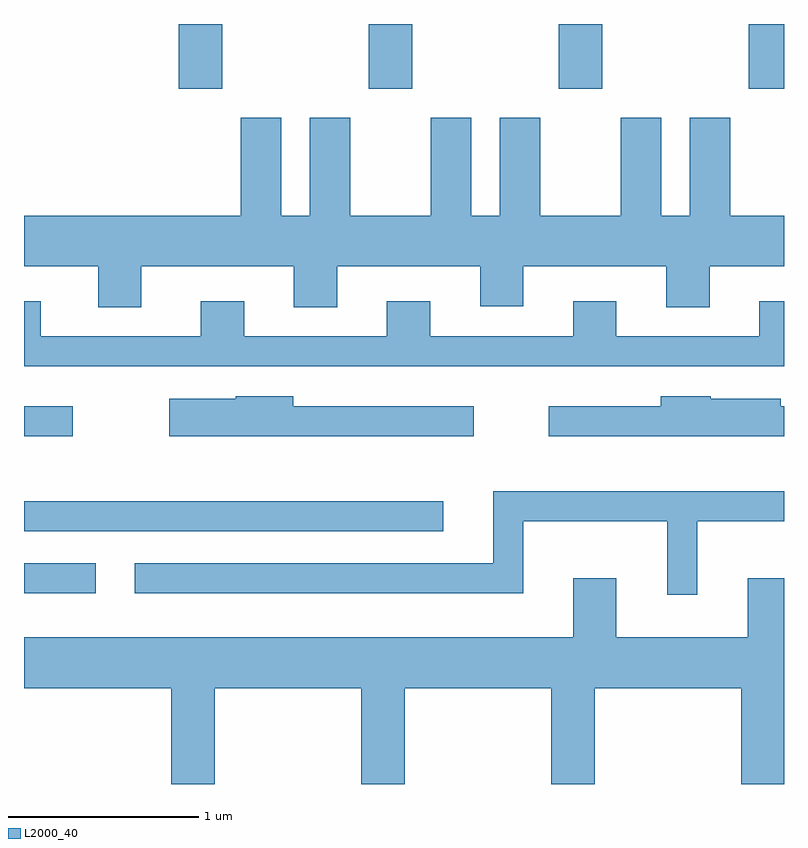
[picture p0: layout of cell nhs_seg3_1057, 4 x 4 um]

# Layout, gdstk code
import gdstk
lib = gdstk.Library(unit=1e-6, precision=1e-09)
def R(c, l, rs):  # rectangles x0, y0, x1, y1
    for r in rs: c.add(gdstk.rectangle(r[:2], r[2:], *l))
def A(c, l, x, y, w, h, nx, ny, dx, dy):  # array of equal rectangles
    R(c, l, [(x+i*dx, y+j*dy, x+i*dx+w, y+j*dy+h) for i in range(nx) for j in range(ny)])
def P(c, l, *ps):  # polygons
    for p in ps: c.add(gdstk.Polygon(p, *l))
L2000_40 = (2000, 40)

nhs_seg3_1057 = lib.new_cell('nhs_seg3_1057')
A(nhs_seg3_1057, L2000_40, 216.426, 1193.551, 0.228, 0.341, 3, 1, 1, 0)
R(nhs_seg3_1057, L2000_40, [(215.611,1190.896,215.988,1191.054), (215.611,1191.221,217.818,1191.379), (215.611,1191.721,215.868,1191.879), (219.426,1193.551,219.611,1193.892)])
P(nhs_seg3_1057, L2000_40, [(216.229,1192.616),(217.031,1192.616),(217.031,1192.401),(217.259,1192.401),(217.259,1192.616),(218.011,1192.616),(218.011,1192.406),(218.239,1192.406),(218.239,1192.616),(218.991,1192.616),(218.991,1192.401),(219.219,1192.401),(219.219,1192.616),(219.611,1192.616),(219.611,1192.884),(219.329,1192.884),(219.329,1193.399),(219.116,1193.399),(219.116,1192.884),(218.964,1192.884),(218.964,1193.399),(218.751,1193.399),(218.751,1192.884),(218.329,1192.884),(218.329,1193.399),(218.116,1193.399),(218.116,1192.884),(217.964,1192.884),(217.964,1193.399),(217.751,1193.399),(217.751,1192.884),(217.329,1192.884),(217.329,1193.399),(217.116,1193.399),(217.116,1192.884),(216.964,1192.884),(216.964,1193.399),(216.751,1193.399),(216.751,1192.884),(215.611,1192.884),(215.611,1192.616),(216.001,1192.616),(216.001,1192.401),(216.229,1192.401)],
  [(219.611,1192.434),(219.481,1192.434),(219.481,1192.249),(218.729,1192.249),(218.729,1192.434),(218.501,1192.434),(218.501,1192.249),(217.749,1192.249),(217.749,1192.434),(217.521,1192.434),(217.521,1192.249),(216.769,1192.249),(216.769,1192.434),(216.541,1192.434),(216.541,1192.249),(215.699,1192.249),(215.699,1192.434),(215.611,1192.434),(215.611,1192.091),(219.611,1192.091)],
  [(219.611,1191.879),(219.594,1191.879),(219.594,1191.919),(219.225,1191.919),(219.225,1191.934),(218.961,1191.934),(218.961,1191.879),(218.373,1191.879),(218.373,1191.721),(219.611,1191.721)],
  [(217.978,1191.879),(217.029,1191.879),(217.029,1191.934),(216.725,1191.934),(216.725,1191.919),(216.376,1191.919),(216.376,1191.721),(217.978,1191.721)],
  [(219.154,1191.276),(219.611,1191.276),(219.611,1191.434),(218.081,1191.434),(218.081,1191.054),(216.193,1191.054),(216.193,1190.896),(218.239,1190.896),(218.239,1191.276),(218.996,1191.276),(218.996,1190.888),(219.154,1190.888)],
  [(216.614,1190.396),(217.386,1190.396),(217.386,1189.892),(217.614,1189.892),(217.614,1190.396),(218.386,1190.396),(218.386,1189.892),(218.614,1189.892),(218.614,1190.396),(219.386,1190.396),(219.386,1189.892),(219.611,1189.892),(219.611,1190.974),(219.421,1190.974),(219.421,1190.664),(218.729,1190.664),(218.729,1190.974),(218.501,1190.974),(218.501,1190.664),(215.611,1190.664),(215.611,1190.396),(216.386,1190.396),(216.386,1189.892),(216.614,1189.892)])

lib.write_gds('nhs_seg3_1057.gds')
